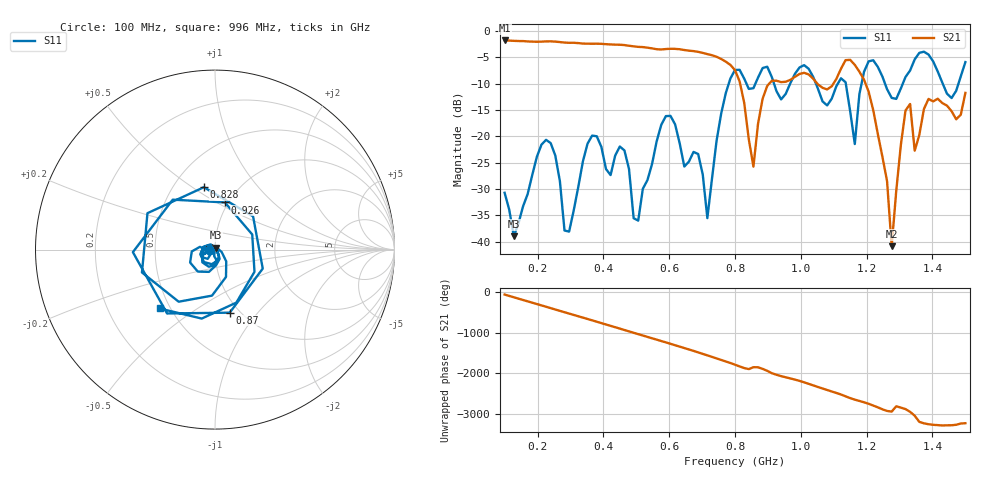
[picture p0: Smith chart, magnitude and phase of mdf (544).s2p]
! NanoVNA-App
! Date: 2025-09-25 15:42:39
! Start: 100MHz Stop: 1,5GHz Points: 101
! S-Parameter data: F S11 S21 S12 S22
# Hz S RI R 50
!  Frequency  S11_Real  S11_Imag  S21_Real  S21_Imag  S12_Real  S12_Imag  S22_Real  S22_Imag
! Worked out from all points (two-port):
!   101 points, 100 MHz to 1.5 GHz, reference 50 ohm
!   highest |S21| = -1.80 dB at 100 MHz (marker M1); lowest = -40.9 dB at 1.276 GHz (marker M2)
!   |S21| within 3 dB of the highest: start of sweep to 739.3 MHz
!   lowest |S11| = -39.0 dB at 128 MHz (marker M3), VSWR 1.02, Z = 50.3 + j1.08 ohm
!   |S11| at or under -10 dB: start of sweep to 781.1 MHz; 1.046 GHz to 1.113 GHz (66.72 MHz wide, 6.18 % of centre); 1.256 GHz to 1.31 GHz (54.07 MHz wide, 4.21 % of centre) (the widest 3 of 7)
!   S12 and S22 are empty: the file has one direction only
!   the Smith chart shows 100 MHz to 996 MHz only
!   S11 on the Smith chart (normalised r, x): 100 MHz: 0.94, -0.01; 828 MHz: 0.70, +0.56; 870 MHz: 0.90, -0.73; 926 MHz: 0.96, +0.55; 996 MHz: 0.44, -0.36
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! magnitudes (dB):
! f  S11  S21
! 100 MHz  -30.7  -1.8
! 128 MHz  -39.0  -1.9
! 212 MHz  -21.6  -2.0
! 282 MHz  -37.9  -2.2
! 338 MHz  -24.7  -2.4
! 464 MHz  -22.7  -2.7
! 506 MHz  -36.0  -3.0
! 576 MHz  -17.8  -3.5
! 716 MHz  -35.5  -4.4
! 800 MHz  -7.4  -7.5
! 828 MHz  -9.0  -13.6
! 856 MHz  -10.9  -25.8
! 870 MHz  -8.9  -17.6
! 926 MHz  -11.4  -9.4
! 996 MHz  -6.9  -8.2
! 1.038 GHz  -8.8  -9.1
! 1.136 GHz  -9.7  -5.5
! 1.164 GHz  -21.5  -6.4
! 1.192 GHz  -7.8  -9.3
! 1.276 GHz  -12.7  -40.9
! 1.318 GHz  -8.7  -15.1
! 1.5 GHz  -5.9  -11.8
